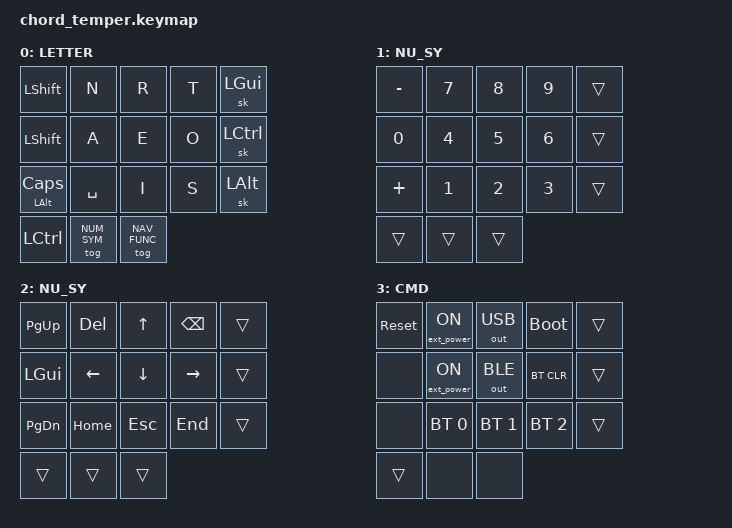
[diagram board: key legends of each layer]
#include <behaviors.dtsi>
#include <dt-bindings/zmk/keys.h>
#include <dt-bindings/zmk/bt.h>
#include <dt-bindings/zmk/outputs.h>
#include <dt-bindings/zmk/ext_power.h>

#define DEFAULT  0
#define NUM_SYM  1
#define NAV_FUNC 2
#define COMMAND  3


#define COMBO(LAYER, NAME, BINDINGS, KEYPOS) \
  combo_##NAME { \
    timeout-ms = <50>; \
    bindings = <BINDINGS>; \
    key-positions = <KEYPOS>; \
    layers = <LAYER>; \
  };

/ {

    combos {
      compatible = "zmk,combos";


      COMBO( DEFAULT, L, &kp L, 1 11)
      COMBO( DEFAULT, G, &kp G, 2 11)
      COMBO( DEFAULT, W, &kp W, 5 11)
      COMBO( DEFAULT, K, &kp K, 6 11)
      COMBO( DEFAULT, ENTER, &kp ENTER, 9 11)
      COMBO( DEFAULT, F, &kp F, 10 11)

      COMBO( DEFAULT, C, &kp C, 1 7)
      COMBO( DEFAULT, H, &kp H, 2 7)
      COMBO( DEFAULT, DE_Y, &kp Z, 5 7)
      COMBO( DEFAULT, D, &kp D, 6 7)
      COMBO( DEFAULT, TAB, &kp TAB, 9 7)
      COMBO( DEFAULT, U, &kp U, 10 7)

      COMBO( DEFAULT, X, &kp X, 1 3)
      COMBO( DEFAULT, V, &kp V, 2 3)
      COMBO( DEFAULT, B, &kp B, 5 3)
      COMBO( DEFAULT, M, &kp M, 6 3)
      COMBO( DEFAULT, SHIFT_TAB, &kp LS(TAB), 9 3)
      COMBO( DEFAULT, Q, &kp Q, 10 3)

      COMBO( DEFAULT, P, &kp P, 1 10)
      COMBO( DEFAULT, DE_Z, &kp Y, 5 10)
      COMBO( DEFAULT, COMMA, &kp COMMA, 9 10)

      COMBO( DEFAULT, J, &kp J, 1 6)
      COMBO( DEFAULT, O_UML, &kp SEMICOLON, 5 6)
      COMBO( DEFAULT, PERIOD, &kp PERIOD, 9 6)

      COMBO( DEFAULT, U_UML, &kp LEFT_BRACKET, 1 2)
      COMBO( DEFAULT, A_UML, &kp SINGLE_QUOTE, 5 2)
      COMBO( DEFAULT, SZ, &kp MINUS, 9 2)

      COMBO( NUM_SYM, DE_UNDERSCORE, &kp LS(SLASH), 1 11)
      COMBO( NUM_SYM, EXCLAMATION, &kp EXCLAMATION, 2 11)
      COMBO( NUM_SYM, DE_EQUAL, &kp LS(N0), 5 11)
      COMBO( NUM_SYM, DE_QUESTION, &kp LS(MINUS), 6 11)
      COMBO( NUM_SYM, DE_COLON, &kp LS(PERIOD), 9 11)
      COMBO( NUM_SYM, DE_SEMICOLON, &kp LS(COMMA), 10 11)

      COMBO( NUM_SYM, DE_DEGREE, &kp LS(GRAVE), 0 7)
      COMBO( NUM_SYM, DE_LEFT_BRACKET, &kp RA(N8), 1 7)
      COMBO( NUM_SYM, DE_RIGHT_BRACKET, &kp RA(N9), 2 7)
      COMBO( NUM_SYM, DE_CARET, &kp GRAVE, 4 7)
      COMBO( NUM_SYM, DE_LEFT_BRACE, &kp RA(N7), 5 7)
      COMBO( NUM_SYM, DE_RIGHT_BRACE, &kp RA(N0), 6 7)
      COMBO( NUM_SYM, DE_SINGLE_QUOTE, &kp LS(BACKSLASH), 9 7)
      COMBO( NUM_SYM, DE_QUOTE, &kp LS(N2), 10 7)

      COMBO( NUM_SYM, DOLLAR, &kp DOLLAR, 0 3)
      COMBO( NUM_SYM, DE_LESS_THAN, &kp NON_US_BACKSLASH, 1 3)
      COMBO( NUM_SYM, DE_GREATER_THAN, &kp LS(NON_US_BACKSLASH), 2 3)
      COMBO( NUM_SYM, DE_EURO, &kp RA(E), 4 3)
      COMBO( NUM_SYM, DE_LEFT_PARENTHESIS, &kp LS(N8), 5 3)
      COMBO( NUM_SYM, DE_RIGHT_PARENTHESIS, &kp LS(N9), 6 3)
      COMBO( NUM_SYM, DE_MICRO, &kp RA(M), 8 3)
      COMBO( NUM_SYM, DE_BACKSLASH, &kp RA(MINUS), 9 3)
      COMBO( NUM_SYM, DE_SLASH, &kp LS(N7), 10 3)

      COMBO( NUM_SYM, DE_TILDE, &kp RA(RIGHT_BRACKET), 1 10)
      COMBO( NUM_SYM, DE_PIPE, &kp RA(NON_US_BACKSLASH), 5 10)
      COMBO( NUM_SYM, DE_GRAVE_2, &kp LS(EQUAL), 9 10)

      COMBO( NUM_SYM, DE_HASH, &kp NON_US_HASH, 1 6)
      COMBO( NUM_SYM, DE_AT, &kp RA(Q), 5 6)
      COMBO( NUM_SYM, DE_PERCENT, &kp LS(N5), 9 6)

      COMBO( NUM_SYM, DE_ASTERISK, &kp LS(RIGHT_BRACKET), 1 2)
      COMBO( NUM_SYM, DE_AMPERSAND, &kp LS(N6), 5 2)
      COMBO( NUM_SYM, DE_PARAGRAPH, &kp LS(N3), 9 2)


      COMBO( NAV_FUNC, BOOTLOADER, &bootloader, 9 2)
      COMBO( NAV_FUNC, RESET, &sys_reset, 5 2)

      COMBO( NAV_FUNC, BT_SEL1, &bt BT_SEL 1, 2 3)
      COMBO( NAV_FUNC, BT_NEXT, &bt BT_NXT, 6 3)
      COMBO( NAV_FUNC, BT_PREV, &bt BT_PRV, 5 3)
      COMBO( NAV_FUNC, BT_CLR, &bt BT_CLR, 9 3)

      COMBO( NAV_FUNC, OUTPUT_USB, &out OUT_USB, 5 7)
      COMBO( NAV_FUNC, OUTPUT_BLE, &out OUT_BLE, 6 7)

    };

    keymap {
        compatible = "zmk,keymap";

        default_layer {
          display-name = "LETTER";
          bindings = <
              &kp LSHIFT        &kp N       &kp R         &kp T    &sk LGUI
              &kp LSHIFT        &kp A       &kp E         &kp O    &sk LCTRL
              &mt LALT CAPSLOCK &kp SPACE   &kp I         &kp S    &sk LALT

              &kp LCTRL  &tog NUM_SYM  &tog NAV_FUNC
          >;
        };

        numbers_and_symbols_layer {
          display-name = "NU_SY";
          bindings = <
              &kp MINUS  &kp N7      &kp N8        &kp N9      &trans
              &kp N0     &kp N4      &kp N5        &kp N6      &trans
              &kp PLUS   &kp N1      &kp N2        &kp N3      &trans

              &trans &trans &trans
          >;
        };

        navigation_and_functions_layer {
          display-name = "NU_SY";
          bindings = <
              &kp PG_UP  &kp DEL     &kp UP      &kp BACKSPACE  &trans
              &kp LGUI   &kp LEFT    &kp DOWN    &kp RIGHT      &trans
              &kp PG_DN  &kp HOME    &kp ESC     &kp END        &trans

              &trans &trans &trans
          >;
        };

        func {
          display-name = "CMD";
          bindings = <
            &sys_reset      &ext_power EP_ON   &out OUT_USB    &bootloader  &trans
            &none           &ext_power EP_ON   &out OUT_BLE    &bt BT_CLR   &trans
            &none           &bt BT_SEL 0       &bt BT_SEL 1    &bt BT_SEL 2 &trans

            &trans          &none           &none
          >;
        };
    };

    conditional_layers {
      compatible = "zmk,conditional-layers";
      tri_layer {
            if-layers = < NUM_SYM NAV_FUNC >;
            then-layer = < COMMAND >;
        };
    };

};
